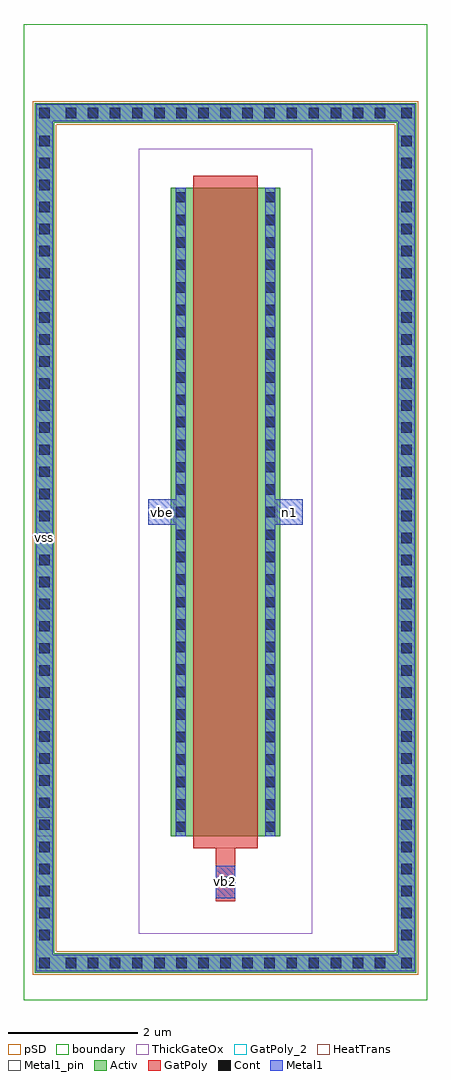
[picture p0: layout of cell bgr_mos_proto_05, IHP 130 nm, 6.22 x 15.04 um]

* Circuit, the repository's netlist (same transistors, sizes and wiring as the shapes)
.subckt bgr_mos_proto_05 n1 vb2 vbe vss
MUNIT n1 vb2 vbe vss sg13_hv_nmos l=1u w=10u as=3.4p ad=3.4p ps=20.68u pd=20.68u rfmode=0
.ends bgr_mos_proto_05

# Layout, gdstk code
import gdstk
lib = gdstk.Library(unit=1e-6, precision=1e-09)
def R(c, l, rs):  # rectangles x0, y0, x1, y1
    for r in rs: c.add(gdstk.rectangle(r[:2], r[2:], *l))
def A(c, l, x, y, w, h, nx, ny, dx, dy):  # array of equal rectangles
    R(c, l, [(x+i*dx, y+j*dy, x+i*dx+w, y+j*dy+h) for i in range(nx) for j in range(ny)])
def P(c, l, *ps):  # polygons
    for p in ps: c.add(gdstk.Polygon(p, *l))
Activ = (1, 0)
GatPoly = (5, 0)
GatPoly_2 = (5, 2)
Cont = (6, 0)
Metal1 = (8, 0)
Metal1_pin = (8, 2)
pSD = (14, 0)
ThickGateOx = (44, 0)
HeatTrans = (51, 0)
boundary = (189, 4)

nmoshv = lib.new_cell('nmosHV')
R(nmoshv, Activ, [(0,0,0.3,0.3), (0,0,1.68,10), (1.38,0,1.68,0.3)])
R(nmoshv, GatPoly, [(0.34,-0.18,1.34,10.18)])
R(nmoshv, GatPoly_2, [(0.34,-0.18,1.34,10.18)])
A(nmoshv, Cont, 0.07, 0.07, 0.16, 0.16, 1, 4, 0, 0.345)
A(nmoshv, Cont, 1.45, 0.07, 0.16, 0.16, 1, 4, 0, 0.345)
A(nmoshv, Cont, 0.07, 1.455, 0.16, 0.16, 1, 3, 0, 0.345)
A(nmoshv, Cont, 1.45, 1.455, 0.16, 0.16, 1, 3, 0, 0.345)
A(nmoshv, Cont, 0.07, 2.495, 0.16, 0.16, 1, 4, 0, 0.345)
A(nmoshv, Cont, 1.45, 2.495, 0.16, 0.16, 1, 4, 0, 0.345)
A(nmoshv, Cont, 0.07, 3.88, 0.16, 0.16, 1, 3, 0, 0.345)
A(nmoshv, Cont, 1.45, 3.88, 0.16, 0.16, 1, 3, 0, 0.345)
A(nmoshv, Cont, 0.07, 4.92, 0.16, 0.16, 1, 4, 0, 0.345)
A(nmoshv, Cont, 1.45, 4.92, 0.16, 0.16, 1, 4, 0, 0.345)
A(nmoshv, Cont, 0.07, 6.305, 0.16, 0.16, 1, 3, 0, 0.345)
A(nmoshv, Cont, 1.45, 6.305, 0.16, 0.16, 1, 3, 0, 0.345)
A(nmoshv, Cont, 0.07, 7.345, 0.16, 0.16, 1, 4, 0, 0.345)
A(nmoshv, Cont, 1.45, 7.345, 0.16, 0.16, 1, 4, 0, 0.345)
A(nmoshv, Cont, 0.07, 8.73, 0.16, 0.16, 1, 3, 0, 0.345)
A(nmoshv, Cont, 1.45, 8.73, 0.16, 0.16, 1, 3, 0, 0.345)
R(nmoshv, Cont, [(0.07,9.77,0.23,9.93), (1.45,9.77,1.61,9.93)])
R(nmoshv, Metal1, [(0.07,0,0.23,10), (1.45,0,1.61,10)])
R(nmoshv, Metal1_pin, [(0.07,0,0.23,10), (1.45,0,1.61,10)])
R(nmoshv, ThickGateOx, [(-0.27,-0.52,1.95,10.52)])
R(nmoshv, HeatTrans, [(0.34,-0.18,1.34,10.18)])
nmoshv.add(gdstk.Label('nmosHV', (0.84,5), layer=63, texttype=0))
nmoshv.add(gdstk.Label('nmosHV', (0.84,5), layer=51, texttype=0))

bgr_mos_proto_05 = lib.new_cell('bgr_mos_proto_05')
P(bgr_mos_proto_05, Activ, [(7.9,7.9),(7.9,21),(8.2,21),(8.2,8.2),(13.48,8.2),(13.48,21),(7.9,21),(7.9,21.3),(13.78,21.3),(13.78,7.9)])
R(bgr_mos_proto_05, GatPoly, [(10.69,9,10.99,9.82)])
A(bgr_mos_proto_05, Cont, 8.38, 7.97, 0.16, 0.16, 15, 2, 0.34, 13.1)
A(bgr_mos_proto_05, Cont, 7.97, 8.4, 0.16, 0.16, 1, 37, 0, 0.34)
A(bgr_mos_proto_05, Cont, 13.55, 8.4, 0.16, 0.16, 1, 37, 0, 0.34)
R(bgr_mos_proto_05, Cont, [(7.97,7.97,8.13,8.13), (13.55,7.97,13.71,8.13), (10.76,9.22,10.92,9.38), (7.97,21.07,8.13,21.23), (13.55,21.07,13.71,21.23)])
R(bgr_mos_proto_05, Metal1, [(10.69,9.05,10.99,9.55), (9.65,14.8,10.23,15.2), (11.45,14.8,12.03,15.2)])
P(bgr_mos_proto_05, Metal1, [(7.92,7.92),(7.92,21.02),(8.18,21.02),(8.18,8.18),(13.5,8.18),(13.5,21.02),(7.92,21.02),(7.92,21.28),(13.76,21.28),(13.76,7.92)])
R(bgr_mos_proto_05, Metal1_pin, [(10.69,9.05,10.99,9.55), (7.92,10,8.18,10.3), (9.65,14.8,10.05,15.2), (11.63,14.8,12.03,15.2)])
P(bgr_mos_proto_05, pSD, [(7.87,7.87),(7.87,20.97),(8.23,20.97),(8.23,8.23),(13.45,8.23),(13.45,20.97),(7.87,20.97),(7.87,21.33),(13.81,21.33),(13.81,7.87)])
R(bgr_mos_proto_05, ThickGateOx, [(9.5,8.5,12.18,20.6)])
R(bgr_mos_proto_05, boundary, [(7.73,7.48,13.95,22.52)])
bgr_mos_proto_05.add(gdstk.Reference(nmoshv, (10,10)))
bgr_mos_proto_05.add(gdstk.Label('vb2', (10.84,9.3), layer=8, texttype=25))
bgr_mos_proto_05.add(gdstk.Label('n1', (11.83,15), layer=8, texttype=25))
bgr_mos_proto_05.add(gdstk.Label('vss', (8.05,14.6), layer=8, texttype=25))
bgr_mos_proto_05.add(gdstk.Label('vbe', (9.85,15), layer=8, texttype=25))

lib.write_gds('bgr_mos_proto_05.gds')
